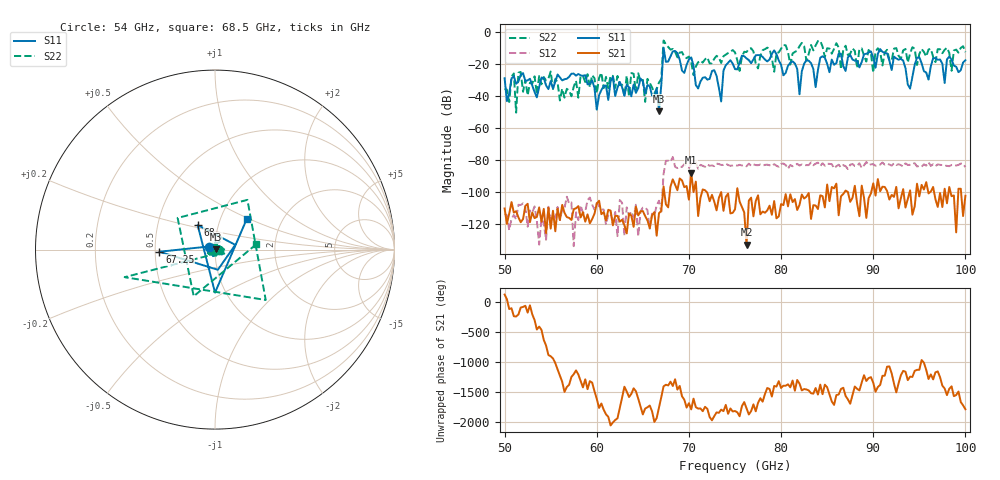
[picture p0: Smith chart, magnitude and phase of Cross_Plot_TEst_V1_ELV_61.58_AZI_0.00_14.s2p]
! 11/25/2026 1:22:51 PM
! C:\ANRITSUVNA\TEMP\TEMP.S2P
! CHANNEL.1
! TR.MEASUREMENT
! RAW.DATA
# HZ S RI R 50.0
! FREQ.HZ  S11RE  S11IM  S21RE  S21IM  S12RE  S12IM  S22RE  S22IM
!; PortSelection: Port_12
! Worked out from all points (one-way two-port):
!   201 points, 50 GHz to 100 GHz, reference 50 ohm
!   highest |S21| = -88.07 dB at 70.25 GHz (marker M1); lowest = -133.0 dB at 76.25 GHz (marker M2)
!   lowest |S11| = -49.7 dB at 66.75 GHz (marker M3), VSWR 1.01, Z = 50.3 + j0.0712 ohm
!   |S11| at or under -10 dB: start of sweep to end of sweep
!   |S22| runs from -50.6 to -5.6 dB; largest |S21 - S12| = 9.8e-05
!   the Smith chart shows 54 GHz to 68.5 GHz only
!   S11 on the Smith chart (normalised r, x): 54 GHz: 0.93, +0.03; 67.25 GHz: 0.53, -0.01; 68 GHz: 0.80, +0.22; 68.5 GHz: 1.33, +0.49
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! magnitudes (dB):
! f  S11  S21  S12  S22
! 50 GHz  -29.1  -110.5  -113.9  -35.8
! 51.25 GHz  -32.6  -112.1  -117.3  -50.6
! 54 GHz  -28.7  -118.6  -116.6  -32.9
! 58.5 GHz  -27.7  -112.8  -113.2  -27.7
! 60 GHz  -48.8  -107.5  -106.9  -38.6
! 61.75 GHz  -28.4  -121.0  -120.0  -27.7
! 66.75 GHz  -49.7  -113.4  -105.6  -31.9
! 67.25 GHz  -10.2  -96.8  -88.8  -5.6
! 68 GHz  -15.5  -96.7  -81.2  -11.3
! 68.5 GHz  -12.1  -95.8  -84.5  -12.6
! 70.25 GHz  -16.1  -88.1  -82.5  -19.1
! 73.5 GHz  -43.6  -100.2  -83.3  -19.7
! 73.75 GHz  -24.3  -111.9  -83.2  -15.4
! 75 GHz  -23.5  -111.0  -83.3  -13.0
! 76.25 GHz  -16.8  -133.0  -84.1  -12.8
! 81.25 GHz  -18.6  -106.4  -84.1  -13.7
! 82 GHz  -39.1  -108.2  -83.7  -9.1
! 83.5 GHz  -23.4  -108.4  -83.5  -11.8
! 91.75 GHz  -18.2  -104.9  -83.0  -17.6
! 94 GHz  -35.6  -99.1  -83.2  -13.7
! 94.75 GHz  -16.4  -95.0  -84.3  -20.9
! 100 GHz  -17.9  -102.5  -84.7  -12.9
